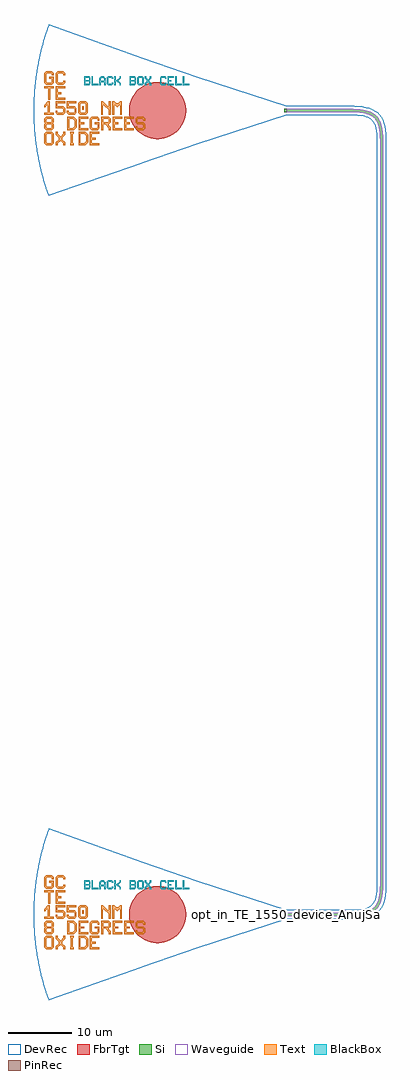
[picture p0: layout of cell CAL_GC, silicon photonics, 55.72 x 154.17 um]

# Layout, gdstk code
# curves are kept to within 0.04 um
import gdstk
lib = gdstk.Library(unit=1e-6, precision=1e-09)
def R(c, l, rs):  # rectangles x0, y0, x1, y1
    for r in rs: c.add(gdstk.rectangle(r[:2], r[2:], *l))
def P(c, l, *ps):  # polygons
    for p in ps: c.add(gdstk.Polygon(p, *l))
Si = (1, 0)
PinRec = (1, 10)
Waveguide = (1, 99)
Text = (10, 0)
DevRec = (68, 0)
FbrTgt = (81, 0)
BlackBox = (998, 0)

text = lib.new_cell('TEXT')
P(text, BlackBox, [(0,0),(0,1.4),(0.8,1.4),(1,1.2),(0.2,1.2),(0.2,0.8),(0.7,0.8),(0.8,0.9),(0.8,1.1),(0.7,1.2),(1,1.2),(1,0.8),(0.9,0.7),(1,0.6),(0.2,0.6),(0.2,0.2),(0.7,0.2),(0.8,0.3),(0.8,0.5),(0.7,0.6),(1,0.6),(1,0.2),(0.8,0)],
  [(1.2,0),(1.2,1.4),(1.4,1.4),(1.4,0.2),(2.2,0.2),(2.2,0)],
  [(2.4,0),(2.4,1.1),(2.7,1.4),(3.1,1.4),(3.3,1.2),(2.8,1.2),(2.6,1),(2.6,0.7),(3.2,0.7),(3.2,1),(3,1.2),(3.3,1.2),(3.4,1.1),(3.4,0),(3.2,0),(3.2,0.5),(2.6,0.5),(2.6,0)],
  [(3.8,0),(3.6,0.2),(3.6,1.2),(3.8,1.4),(4.4,1.4),(4.6,1.2),(4.6,1),(4.4,1),(4.4,1.1),(4.3,1.2),(3.9,1.2),(3.8,1.1),(3.8,0.3),(3.9,0.2),(4.3,0.2),(4.4,0.3),(4.4,0.4),(4.6,0.4),(4.6,0.2),(4.4,0)],
  [(4.8,0),(4.8,1.4),(5,1.4),(5,0.8),(5.2,0.8),(5.6,1.2),(5.6,1.4),(5.8,1.4),(5.8,1.1),(5.4,0.7),(5.8,0.3),(5.8,0),(5.6,0),(5.6,0.2),(5.2,0.6),(5,0.6),(5,0)],
  [(7.2,0),(7.2,1.4),(8,1.4),(8.2,1.2),(7.4,1.2),(7.4,0.8),(7.9,0.8),(8,0.9),(8,1.1),(7.9,1.2),(8.2,1.2),(8.2,0.8),(8.1,0.7),(8.2,0.6),(7.4,0.6),(7.4,0.2),(7.9,0.2),(8,0.3),(8,0.5),(7.9,0.6),(8.2,0.6),(8.2,0.2),(8,0)],
  [(8.6,0),(8.4,0.2),(8.4,1.2),(8.6,1.4),(9.2,1.4),(9.4,1.2),(9.4,0.7),(9.2,0.7),(9.2,1.1),(9.1,1.2),(8.7,1.2),(8.6,1.1),(8.6,0.3),(8.7,0.2),(9.1,0.2),(9.2,0.3),(9.2,0.7),(9.4,0.7),(9.4,0.2),(9.2,0)],
  [(9.6,0),(9.6,0.3),(9.9,0.6),(9.9,0.8),(9.6,1.1),(9.6,1.4),(9.8,1.4),(9.8,1.2),(10.1,0.9),(10.4,1.2),(10.4,1.4),(10.6,1.4),(10.6,1.1),(10.3,0.8),(10.3,0.6),(10.6,0.3),(10.6,0),(10.4,0),(10.4,0.2),(10.1,0.5),(9.8,0.2),(9.8,0)],
  [(12.2,0),(12,0.2),(12,1.2),(12.2,1.4),(12.8,1.4),(13,1.2),(13,1),(12.8,1),(12.8,1.1),(12.7,1.2),(12.3,1.2),(12.2,1.1),(12.2,0.3),(12.3,0.2),(12.7,0.2),(12.8,0.3),(12.8,0.4),(13,0.4),(13,0.2),(12.8,0)],
  [(13.2,0),(13.2,1.4),(14.2,1.4),(14.2,1.2),(13.4,1.2),(13.4,0.8),(13.8,0.8),(13.8,0.6),(13.4,0.6),(13.4,0.2),(14.2,0.2),(14.2,0)],
  [(14.4,0),(14.4,1.4),(14.6,1.4),(14.6,0.2),(15.4,0.2),(15.4,0)],
  [(15.6,0),(15.6,1.4),(15.8,1.4),(15.8,0.2),(16.6,0.2),(16.6,0)])

gc_te_1550_8degoxide_bb = lib.new_cell('GC_TE_1550_8degOxide_BB')
R(gc_te_1550_8degoxide_bb, Si, [(-0.4,-0.25,0,0.25)])
R(gc_te_1550_8degoxide_bb, Text, [(-32.313,0.092,-32.013,0.692)])
P(gc_te_1550_8degoxide_bb, Text, [(-37.67,1.71),(-37.67,3.51),(-38.27,3.51),(-38.27,3.81),(-36.77,3.81),(-36.77,3.51),(-37.37,3.51),(-37.37,1.71)],
  [(-37.97,-5.49),(-38.27,-5.19),(-38.27,-3.69),(-37.97,-3.39),(-37.07,-3.39),(-36.77,-3.69),(-36.77,-4.44),(-37.07,-4.44),(-37.07,-3.84),(-37.22,-3.69),(-37.82,-3.69),(-37.97,-3.84),(-37.97,-5.04),(-37.82,-5.19),(-37.22,-5.19),(-37.07,-5.04),(-37.07,-4.44),(-36.77,-4.44),(-36.77,-5.19),(-37.07,-5.49)],
  [(-31.07,-5.49),(-31.07,-3.39),(-29.57,-3.39),(-29.57,-3.69),(-30.77,-3.69),(-30.77,-4.29),(-30.17,-4.29),(-30.17,-4.59),(-30.77,-4.59),(-30.77,-5.19),(-29.57,-5.19),(-29.57,-5.49)],
  [(-32.87,-3.09),(-32.87,-0.99),(-31.37,-0.99),(-31.37,-1.29),(-32.57,-1.29),(-32.57,-1.89),(-31.97,-1.89),(-31.97,-2.19),(-32.57,-2.19),(-32.57,-2.79),(-31.37,-2.79),(-31.37,-3.09)],
  [(-27.47,-3.09),(-27.47,-0.99),(-25.97,-0.99),(-25.97,-1.29),(-27.17,-1.29),(-27.17,-1.89),(-26.57,-1.89),(-26.57,-2.19),(-27.17,-2.19),(-27.17,-2.79),(-25.97,-2.79),(-25.97,-3.09)],
  [(-25.67,-3.09),(-25.67,-0.99),(-24.17,-0.99),(-24.17,-1.29),(-25.37,-1.29),(-25.37,-1.89),(-24.77,-1.89),(-24.77,-2.19),(-25.37,-2.19),(-25.37,-2.79),(-24.17,-2.79),(-24.17,-3.09)],
  [(-36.47,1.71),(-36.47,3.81),(-34.97,3.81),(-34.97,3.51),(-36.17,3.51),(-36.17,2.91),(-35.57,2.91),(-35.57,2.61),(-36.17,2.61),(-36.17,2.01),(-34.97,2.01),(-34.97,1.71)],
  [(-29.313,-0.658),(-29.313,1.442),(-29.013,1.442),(-28.263,0.692),(-28.113,0.692),(-28.113,1.442),(-27.813,1.442),(-27.813,-0.658),(-28.113,-0.658),(-28.113,0.092),(-28.863,0.842),(-29.013,0.842),(-29.013,-0.658)],
  [(-34.22,-5.49),(-34.22,-5.19),(-34.07,-5.19),(-34.07,-3.69),(-34.22,-3.69),(-34.22,-3.39),(-33.62,-3.39),(-33.62,-3.69),(-33.77,-3.69),(-33.77,-5.19),(-33.62,-5.19),(-33.62,-5.49)],
  [(-36.17,4.11),(-36.47,4.41),(-36.47,5.91),(-36.17,6.21),(-35.27,6.21),(-34.97,5.91),(-34.97,5.61),(-35.27,5.61),(-35.27,5.76),(-35.42,5.91),(-36.02,5.91),(-36.17,5.76),(-36.17,4.56),(-36.02,4.41),(-35.42,4.41),(-35.27,4.56),(-35.27,4.71),(-34.97,4.71),(-34.97,4.41),(-35.27,4.11)],
  [(-27.513,-0.658),(-27.513,1.442),(-27.213,1.442),(-26.913,1.142),(-26.613,1.142),(-26.313,1.442),(-26.013,1.442),(-26.013,-0.658),(-26.313,-0.658),(-26.313,0.842),(-26.463,0.842),(-26.763,0.542),(-27.063,0.842),(-27.213,0.842),(-27.213,-0.658)],
  [(-32.613,-0.658),(-32.913,-0.358),(-32.913,1.142),(-32.613,1.442),(-31.713,1.442),(-31.413,1.142),(-32.463,1.142),(-32.613,0.992),(-32.613,-0.208),(-32.463,-0.358),(-31.863,-0.358),(-31.713,-0.208),(-31.713,0.992),(-31.863,1.142),(-31.413,1.142),(-31.413,-0.358),(-31.713,-0.658)],
  [(-32.87,-5.49),(-32.87,-3.39),(-31.82,-3.39),(-31.52,-3.69),(-32.57,-3.69),(-32.57,-5.19),(-31.97,-5.19),(-31.67,-4.89),(-31.67,-3.99),(-31.97,-3.69),(-31.52,-3.69),(-31.37,-3.84),(-31.37,-5.04),(-31.82,-5.49)],
  [(-34.67,-3.09),(-34.67,-0.99),(-33.62,-0.99),(-33.32,-1.29),(-34.37,-1.29),(-34.37,-2.79),(-33.77,-2.79),(-33.47,-2.49),(-33.47,-1.59),(-33.77,-1.29),(-33.32,-1.29),(-33.17,-1.44),(-33.17,-2.64),(-33.62,-3.09)],
  [(-23.57,-3.09),(-23.87,-2.79),(-23.87,-2.49),(-23.57,-2.49),(-23.57,-2.64),(-23.42,-2.79),(-22.82,-2.79),(-22.67,-2.64),(-22.67,-2.34),(-22.82,-2.19),(-23.57,-2.19),(-23.87,-1.89),(-23.87,-1.29),(-23.57,-0.99),(-22.67,-0.99),(-22.37,-1.29),(-22.37,-1.59),(-22.67,-1.59),(-22.67,-1.44),(-22.82,-1.29),(-23.42,-1.29),(-23.57,-1.44),(-23.57,-1.74),(-23.42,-1.89),(-22.67,-1.89),(-22.37,-2.19),(-22.37,-2.79),(-22.67,-3.09)],
  [(-36.213,-0.658),(-36.513,-0.358),(-36.513,-0.058),(-36.213,-0.058),(-36.213,-0.208),(-36.063,-0.358),(-35.463,-0.358),(-35.313,-0.208),(-35.313,0.242),(-35.463,0.392),(-36.513,0.392),(-36.513,1.442),(-35.013,1.442),(-35.013,1.142),(-36.213,1.142),(-36.213,0.692),(-35.313,0.692),(-35.013,0.392),(-35.013,-0.358),(-35.313,-0.658)],
  [(-34.413,-0.658),(-34.713,-0.358),(-34.713,-0.058),(-34.413,-0.058),(-34.413,-0.208),(-34.263,-0.358),(-33.663,-0.358),(-33.513,-0.208),(-33.513,0.242),(-33.663,0.392),(-34.713,0.392),(-34.713,1.442),(-33.213,1.442),(-33.213,1.142),(-34.413,1.142),(-34.413,0.692),(-33.513,0.692),(-33.213,0.392),(-33.213,-0.358),(-33.513,-0.658)],
  [(-37.97,-3.09),(-38.27,-2.79),(-38.27,-2.19),(-38.12,-2.04),(-38.27,-1.89),(-38.27,-1.29),(-37.97,-0.99),(-37.07,-0.99),(-36.77,-1.29),(-37.82,-1.29),(-37.97,-1.44),(-37.97,-1.74),(-37.82,-1.89),(-37.22,-1.89),(-37.07,-1.74),(-37.07,-1.44),(-37.22,-1.29),(-36.77,-1.29),(-36.77,-1.89),(-36.92,-2.04),(-36.77,-2.19),(-37.82,-2.19),(-37.97,-2.34),(-37.97,-2.64),(-37.82,-2.79),(-37.22,-2.79),(-37.07,-2.64),(-37.07,-2.34),(-37.22,-2.19),(-36.77,-2.19),(-36.77,-2.79),(-37.07,-3.09)],
  [(-38.313,-0.658),(-38.313,-0.358),(-37.713,-0.358),(-37.713,0.842),(-37.863,0.842),(-38.163,0.542),(-38.313,0.542),(-38.313,0.842),(-37.713,1.442),(-37.413,1.442),(-37.413,-0.358),(-36.813,-0.358),(-36.813,-0.658)],
  [(-36.47,-5.49),(-36.47,-5.04),(-36.02,-4.59),(-36.02,-4.29),(-36.47,-3.84),(-36.47,-3.39),(-36.17,-3.39),(-36.17,-3.69),(-35.72,-4.14),(-35.27,-3.69),(-35.27,-3.39),(-34.97,-3.39),(-34.97,-3.84),(-35.42,-4.29),(-35.42,-4.59),(-34.97,-5.04),(-34.97,-5.49),(-35.27,-5.49),(-35.27,-5.19),(-35.72,-4.74),(-36.17,-5.19),(-36.17,-5.49)],
  [(-30.77,-3.09),(-31.07,-2.79),(-31.07,-1.29),(-30.77,-0.99),(-29.87,-0.99),(-29.57,-1.29),(-29.57,-1.59),(-29.87,-1.59),(-29.87,-1.44),(-30.02,-1.29),(-30.62,-1.29),(-30.77,-1.44),(-30.77,-2.64),(-30.62,-2.79),(-30.02,-2.79),(-29.87,-2.64),(-29.87,-2.19),(-30.32,-2.19),(-30.32,-1.89),(-29.57,-1.89),(-29.57,-2.79),(-29.87,-3.09)],
  [(-37.97,4.11),(-38.27,4.41),(-38.27,5.91),(-37.97,6.21),(-37.07,6.21),(-36.77,5.91),(-36.77,5.61),(-37.07,5.61),(-37.07,5.76),(-37.22,5.91),(-37.82,5.91),(-37.97,5.76),(-37.97,4.56),(-37.82,4.41),(-37.22,4.41),(-37.07,4.56),(-37.07,5.01),(-37.52,5.01),(-37.52,5.31),(-36.77,5.31),(-36.77,4.41),(-37.07,4.11)],
  [(-29.27,-3.09),(-29.27,-0.99),(-28.07,-0.99),(-27.77,-1.29),(-28.97,-1.29),(-28.97,-1.89),(-28.22,-1.89),(-28.07,-1.74),(-28.07,-1.44),(-28.22,-1.29),(-27.77,-1.29),(-27.77,-1.89),(-28.07,-2.19),(-28.07,-2.34),(-27.77,-2.64),(-27.77,-3.09),(-28.07,-3.09),(-28.07,-2.79),(-28.67,-2.19),(-28.97,-2.19),(-28.97,-3.09)])
P(gc_te_1550_8degoxide_bb, DevRec, [(-37.607,-13.5),(-38.627,-10.245),(-39.378,-6.832),(-39.647,-5.058),(-39.835,-3.274),(-39.969,0.224),(-39.812,3.541),(-39.331,7.097),(-38.557,10.505),(-37.546,13.669),(-22.8,8.353),(-14.109,5.36),(0,0.75),(0,-0.75),(-14.109,-5.36)])
P(gc_te_1550_8degoxide_bb, FbrTgt, [(-20.621,-4.5),(-21.495,-4.37),(-22.326,-4.073),(-23.084,-3.619),(-23.738,-3.026),(-24.264,-2.316),(-24.642,-1.518),(-24.857,-0.661),(-24.9,0.221),(-24.77,1.095),(-24.473,1.926),(-24.019,2.684),(-23.426,3.338),(-22.716,3.864),(-21.918,4.242),(-21.061,4.457),(-20.179,4.5),(-19.305,4.37),(-18.474,4.073),(-17.716,3.619),(-17.062,3.026),(-16.536,2.316),(-16.158,1.518),(-15.943,0.661),(-15.9,-0.221),(-16.03,-1.095),(-16.327,-1.926),(-16.781,-2.684),(-17.374,-3.338),(-18.084,-3.864),(-18.882,-4.242),(-19.739,-4.457)])
gc_te_1550_8degoxide_bb.add(gdstk.FlexPath([(-0.01,0),(0.01,0)], 0.5, ends="flush", simple_path=True, layer=1, datatype=10))  # PinRec
gc_te_1550_8degoxide_bb.add(gdstk.Reference(text, (-32,4)))
gc_te_1550_8degoxide_bb.add(gdstk.Label('opt1', (0,0), layer=1, texttype=10))
gc_te_1550_8degoxide_bb.add(gdstk.Label('Lumerical_INTERCONNECT_library=Design kits/ebeam', (-29,-7), layer=68, texttype=0))
gc_te_1550_8degoxide_bb.add(gdstk.Label('Component=GC_TE_1550_8degOxide_BB', (-28,-5), layer=68, texttype=0))

waveguide_28 = lib.new_cell('Waveguide$28')
P(waveguide_28, Si, [(268,-0.25),(268,0.25),(278.427,0.254),(279.559,0.321),(280.479,0.478),(281.093,0.686),(281.493,0.906),(281.823,1.177),(282.093,1.506),(282.485,2.387),(282.696,3.614),(282.75,5),(282.75,122),(282.66,123.728),(282.406,124.864),(281.966,125.667),(281.668,125.965),(281.304,126.209),(280.865,126.405),(280.197,126.584),(279.207,126.711),(278.217,126.748),(268,126.75),(268,127.25),(278,127.25),(279.432,127.194),(280.45,127.042),(281.168,126.824),(281.881,126.432),(282.352,125.983),(282.711,125.422),(283.006,124.603),(283.156,123.79),(283.241,122.647),(283.25,5),(283.194,3.568),(282.922,2.106),(282.71,1.577),(282.432,1.119),(282.082,0.733),(281.66,0.419),(281.167,0.175),(280.603,-0.006),(279.613,-0.177),(278.437,-0.246)])
P(waveguide_28, Waveguide, [(268,-0.25),(268,0.25),(278.427,0.254),(279.559,0.321),(280.479,0.478),(281.093,0.686),(281.493,0.906),(281.823,1.177),(282.093,1.506),(282.485,2.387),(282.696,3.614),(282.75,5),(282.75,122),(282.66,123.728),(282.406,124.864),(281.966,125.667),(281.668,125.965),(281.304,126.209),(280.865,126.405),(280.197,126.584),(279.207,126.711),(278.217,126.748),(268,126.75),(268,127.25),(278,127.25),(279.432,127.194),(280.45,127.042),(281.168,126.824),(281.881,126.432),(282.352,125.983),(282.711,125.422),(283.006,124.603),(283.156,123.79),(283.241,122.647),(283.25,5),(283.194,3.568),(282.922,2.106),(282.71,1.577),(282.432,1.119),(282.082,0.733),(281.66,0.419),(281.167,0.175),(280.603,-0.006),(279.613,-0.177),(278.437,-0.246)])
P(waveguide_28, DevRec, [(268,-0.75),(268,0.75),(278.649,0.76),(279.744,0.847),(280.575,1.025),(281.158,1.285),(281.375,1.442),(281.714,1.841),(282.074,2.806),(282.207,3.769),(282.25,5),(282.25,122),(282.153,123.744),(281.975,124.575),(281.855,124.895),(281.558,125.375),(281.376,125.557),(280.896,125.854),(280.194,126.074),(279.231,126.207),(277.999,126.25),(268,126.25),(268,127.75),(278.001,127.75),(279.351,127.703),(280.51,127.54),(281.51,127.222),(282.35,126.697),(282.698,126.349),(282.989,125.95),(283.405,125.027),(283.639,123.952),(283.74,122.701),(283.75,5),(283.703,3.649),(283.54,2.49),(283.404,1.972),(282.988,1.049),(282.349,0.302),(281.95,0.011),(281.027,-0.405),(279.952,-0.639),(278.701,-0.74)])
waveguide_28.add(gdstk.FlexPath([(268.01,0),(267.99,0)], 0.5, ends="flush", simple_path=True, layer=1, datatype=10))  # PinRec
waveguide_28.add(gdstk.FlexPath([(268.01,127),(267.99,127)], 0.5, ends="flush", simple_path=True, layer=1, datatype=10))  # PinRec
waveguide_28.add(gdstk.Label('opt1', (268,0), layer=1, texttype=10))
waveguide_28.add(gdstk.Label('opt2', (268,127), layer=1, texttype=10))
waveguide_28.add(gdstk.Label('Lumerical_INTERCONNECT_library=Design kits/EBeam', (268,-0.1), layer=68, texttype=0))
waveguide_28.add(gdstk.Label('Component=ebeam_wg_integral_1550', (268,0.1), layer=68, texttype=0))
waveguide_28.add(gdstk.Label('cellName=Waveguide', (268,0.2), layer=68, texttype=0))
waveguide_28.add(gdstk.Label('Spice_param:wg_length=0.000153897 wg_width=5e-07 points="[[268.0,0.0],[283.0,0.0],[283.0,127.0],[268.0,127.0]]" radius=5e-06', (268,0), layer=68, texttype=0))
waveguide_28.add(gdstk.Label('Length=153.897 (microns)', (268,-0.6), layer=68, texttype=0))
waveguide_28.add(gdstk.Label('waveguide_type=Strip TE 1550 nm, w=500 nm', (268,-0.2), layer=68, texttype=0))

cal_gc = lib.new_cell('CAL_GC')
cal_gc.add(gdstk.Reference(gc_te_1550_8degoxide_bb, (39.969,13.5)))
cal_gc.add(gdstk.Reference(gc_te_1550_8degoxide_bb, (39.969,140.5)))
cal_gc.add(gdstk.Reference(waveguide_28, (-228.031,13.5)))
cal_gc.add(gdstk.Label('opt_in_TE_1550_device_AnujSarode_loopback1', (39.969,13.5), layer=10, texttype=0))

lib.write_gds('CAL_GC.gds')
